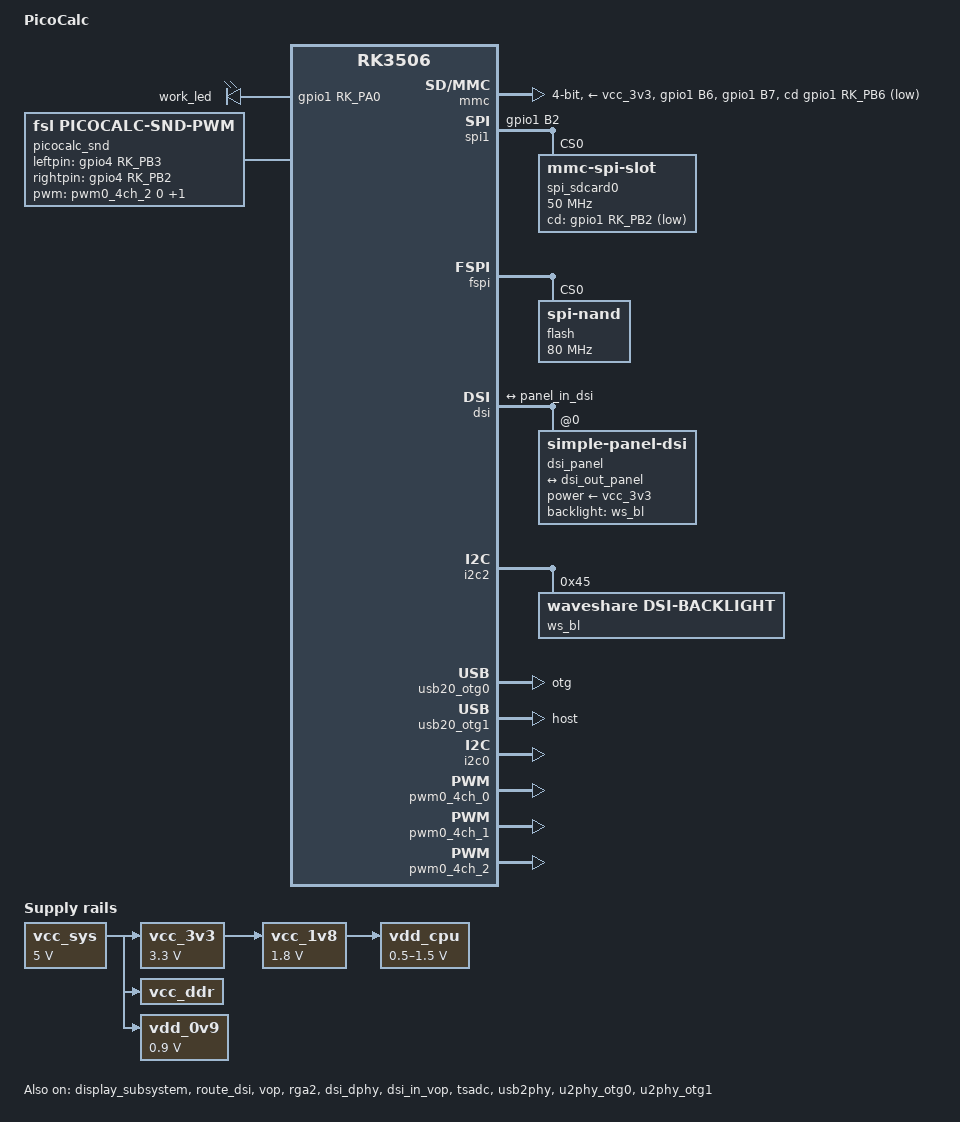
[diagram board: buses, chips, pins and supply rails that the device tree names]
// SPDX-License-Identifier: (GPL-2.0+ OR MIT)
/*
 * Copyright (c) 2024 Rockchip Electronics Co., Ltd.
 * Copyright (c) 2025 nekocharm
 */

/dts-v1/;

#include <dt-bindings/soc/rockchip-amp.h>
#include <dt-bindings/pinctrl/rockchip.h>
#include <dt-bindings/display/drm_mipi_dsi.h>
#include <dt-bindings/display/rockchip_vop.h>
#include <dt-bindings/input/rk-input.h>
#include <dt-bindings/sensor-dev.h>
#include <dt-bindings/suspend/rockchip-rk3506.h>
#include "rk3506.dtsi"

#define CPU_GET_AFFINITY(cluster, cpu)		(cpu)

/ {
	model = "PicoCalc";
	compatible = "rockchip,rk3506";

	chosen {
		bootargs = "earlycon=uart8250,mmio32,0xff0a0000 console=ttyFIQ0 fbcon=font:6x8 fbcon=map:10 storagemedia=sd root=PARTLABEL=rootfs rootfstype=ext4 init=/sbin/pre_init rootwait snd_aloop.index=7 snd_aloop.use_raw_jiffies=1 module_blacklist=rtl8xxxu";
	};

	aliases {
		/* ensure mount mmc first */
		mmc0 = &mmc;
		mmc1 = &spi_sdcard0;
	};

	rockchip_amp: rockchip-amp {
		compatible = "rockchip,amp";
		clocks = <&cru HCLK_M0>, <&cru STCLK_M0>,
			<&cru PCLK_TIMER>, <&cru CLK_TIMER0_CH5>,
			<&cru CLK_TIMER0_CH0>, <&cru CLK_TIMER0_CH4>;

		amp-cpu-aff-maskbits = /bits/ 64 <0x0 0x1 0x1 0x2 0x2 0x4>;
		amp-irqs = /bits/ 64 <
			/* TIMER0 */
			GIC_AMP_IRQ_CFG_ROUTE(126, 0xd0, CPU_GET_AFFINITY(0, 2))
			/* TIMER4 */
			GIC_AMP_IRQ_CFG_ROUTE(130, 0xd0, CPU_GET_AFFINITY(0, 2))>;
		status = "okay";
	};

	mcu_log: mculog {
		compatible = "picocalc,mculog";
		memory-region = <&shmem_reserved>;
		shmem-offset = <0x20>;
		shmem-length = <0x7fe0>;
	};

	fiq_debugger: fiq-debugger {
		compatible = "rockchip,fiq-debugger";
		rockchip,serial-id = <0>;
		rockchip,wake-irq = <0>;
		rockchip,irq-mode-enable = <1>;
		rockchip,baudrate = <1500000>;	/* Only 115200 and 1500000 */
		interrupts = <GIC_SPI 115 IRQ_TYPE_LEVEL_HIGH>;
	};

	leds: leds {
		compatible = "gpio-leds";
		work_led: work-led {
			gpios = <&gpio1 RK_PA0 GPIO_ACTIVE_HIGH>;
			linux,default-trigger = "heartbeat";
		};
	};

	backlight: backlight {
		compatible = "pwm-backlight";
		pwms = <&pwm0_4ch_3 0 25000 0>;
		brightness-levels = <
			  0  20  20  21  21  22  22  23
			 23  24  24  25  25  26  26  27
			 27  28  28  29  29  30  30  31
			 31  32  32  33  33  34  34  35
			 35  36  36  37  37  38  38  39
			 40  41  42  43  44  45  46  47
			 48  49  50  51  52  53  54  55
			 56  57  58  59  60  61  62  63
			 64  65  66  67  68  69  70  71
			 72  73  74  75  76  77  78  79
			 80  81  82  83  84  85  86  87
			 88  89  90  91  92  93  94  95
			 96  97  98  99 100 101 102 103
			104 105 106 107 108 109 110 111
			112 113 114 115 116 117 118 119
			120 121 122 123 124 125 126 127
			128 129 130 131 132 133 134 135
			136 137 138 139 140 141 142 143
			144 145 146 147 148 149 150 151
			152 153 154 155 156 157 158 159
			160 161 162 163 164 165 166 167
			168 169 170 171 172 173 174 175
			176 177 178 179 180 181 182 183
			184 185 186 187 188 189 190 191
			192 193 194 195 196 197 198 199
			200 201 202 203 204 205 206 207
			208 209 210 211 212 213 214 215
			216 217 218 219 220 221 222 223
			224 225 226 227 228 229 230 231
			232 233 234 235 236 237 238 239
			240 241 242 243 244 245 246 247
			248 249 250 251 252 253 254 255
		>;
		default-brightness-level = <200>;
		status = "disabled";
	};

	picocalc_snd: picocalc-snd-pwm {
		compatible = "fsl,picocalc-snd-pwm";
		pwms = <&pwm0_4ch_2 0 25000 0>, <&pwm0_4ch_1 0 25000 0>;
        pwm-names = "pwm-snd-left", "pwm-snd-right";
        pinctrl-names = "default";
        pinctrl-0 = <&snd_pins>;
		leftpin = <&gpio4 RK_PB3 GPIO_ACTIVE_HIGH>;
		rightpin = <&gpio4 RK_PB2 GPIO_ACTIVE_HIGH>;
		status = "okay";
	};

	vcc_sys: vcc-sys {
		compatible = "regulator-fixed";
		regulator-name = "vcc_sys";
		regulator-always-on;
		regulator-boot-on;
		regulator-min-microvolt = <5000000>;
		regulator-max-microvolt = <5000000>;
	};

	vcc_3v3: vcc-3v3 {
		compatible = "regulator-fixed";
		regulator-name = "vcc_3v3";
		regulator-always-on;
		regulator-boot-on;
		regulator-min-microvolt = <3300000>;
		regulator-max-microvolt = <3300000>;
		vin-supply = <&vcc_sys>;
	};

	vcc_1v8: vcc-1v8 {
		compatible = "regulator-fixed";
		regulator-name = "vcc_1v8";
		regulator-always-on;
		regulator-boot-on;
		regulator-min-microvolt = <1800000>;
		regulator-max-microvolt = <1800000>;
		vin-supply = <&vcc_3v3>;
	};

	//1.8V
	vcc_ddr: vcc-ddr {
		compatible = "regulator-fixed";
		regulator-name = "vcc_ddr";
		regulator-always-on;
		regulator-boot-on;
		vin-supply = <&vcc_sys>;
	};

	vdd_0v9: vdd-0v9 {
		compatible = "regulator-fixed";
		regulator-name = "vdd_0v9";
		regulator-always-on;
		regulator-boot-on;
		regulator-min-microvolt = <900000>;
		regulator-max-microvolt = <900000>;
		vin-supply = <&vcc_sys>;
	};

	vdd_cpu: vdd-cpu {
		compatible = "pwm-regulator";
		pwms = <&pwm0_4ch_0 0 5000 1>;
		regulator-name = "vdd_cpu";
		regulator-min-microvolt = <500000>;
		regulator-max-microvolt = <1500000>;
		regulator-init-microvolt = <500000>;
		regulator-always-on;
		regulator-boot-on;
		regulator-settling-time-up-us = <250>;
		pwm-supply = <&vcc_1v8>;
	};
};

/**********cpu**********/
&cpu0 {
	cpu-supply = <&vdd_cpu>;
	status = "okay";
};

/**********media**********/
&mmc {
	/* For SDMMC */
	max-frequency = <52000000>;
	bus-width = <4>;
	no-sdio;
	no-mmc;
	cap-mmc-highspeed;
	cap-sd-highspeed;
	cd-gpios = <&gpio1 RK_PB6 GPIO_ACTIVE_LOW>; //det
	disable-wp;
	pinctrl-names = "default";
	pinctrl-0 = <&sdmmc_clk_pins &sdmmc_cmd_pins &sdmmc_bus4_pins &sdmmc_det &sdmmc_pwren>;
	vqmmc-supply = <&vcc_3v3>;
	vmmc-supply = <&vcc_3v3>;
	status = "okay";
};

&spi1 {
	num-cs = <1>;
	pinctrl-names = "default";
	pinctrl-0 = <&rm_io28_spi1_mosi &rm_io29_spi1_clk &rm_io30_spi1_csn0 &rm_io31_spi1_miso &sdcard_det>;
	status = "okay";
	spi_sdcard0: spi-sdcard@0 {
		compatible = "mmc-spi-slot";
        reg = <0>;
        spi-max-frequency = <50000000>;
        voltage-ranges = <3300 3300>;
        cd-gpios = <&gpio1 RK_PB2 GPIO_ACTIVE_LOW>;
		status = "okay";
	};
};

&fspi {
	status = "okay";

	flash@0 {
		compatible = "spi-nand";
		reg = <0>;
		spi-max-frequency = <80000000>;
		spi-rx-bus-width = <4>;
		spi-tx-bus-width = <1>;
	};
};

/**********reserved memory**********/
&reserved_memory {
	/* mcu address */
	mcu_reserved: mcu@fff80000 {
		reg = <0xfff80000 0xc000>;
		no-map;
	};

	/* 0x20~0x8000 for log*/
	shmem_reserved: shmem@3c00000 {
		reg = <0x03c00000 0x8000>;
		no-map;
		no-cache;
	};
};

/**********display**********/
&cma {
	size = <0x2000000>;
};

&display_subsystem {
	logo-memory-region = <&drm_logo>;
	status = "okay";
};

&route_dsi{
	status = "okay";
};

&vop {
	status = "okay";
};

&rga2 {
	status = "okay";
};

&dsi_dphy {
	status = "okay";
};

&dsi_in_vop {
	status = "okay";
};

&dsi {
	status = "okay";

	dsi_panel: panel@0 {
		status = "okay";
		compatible = "simple-panel-dsi";
		reg = <0>;
		backlight = <&ws_bl>;

		//reset-gpios = <&gpio0 RK_PB5 GPIO_ACTIVE_LOW>;
		prepare-delay-ms = <120>;
		reset-delay-ms = <120>;
		init-delay-ms = <120>;
		disable-delay-ms = <120>;
		unprepare-delay-ms = <120>;

		dsi,flags = <(MIPI_DSI_MODE_VIDEO | MIPI_DSI_MODE_VIDEO_BURST | MIPI_DSI_MODE_LPM | MIPI_DSI_MODE_NO_EOT_PACKET )>;
		dsi,format = <MIPI_DSI_FMT_RGB888>;
		dsi,lanes  = <1>; // for 800x480

		// 5inch
		width-mm = <216>;
		height-mm = <135>;

		// 800x480 panel init sequence
		panel-init-sequence = [
			29 00 06 10 02 03 00 00 00
			29 00 06 64 01 0c 00 00 00
			29 00 06 68 01 0c 00 00 00
			29 00 06 44 01 00 00 00 49
			29 00 06 48 01 00 00 00 00
			29 00 06 14 01 15 00 00 00
			29 00 06 50 04 60 00 00 00
			29 00 06 20 04 52 01 10 00
			29 00 06 24 04 14 00 1a 00
			29 00 06 28 04 20 03 69 00
			29 00 06 2c 04 02 00 15 00
			29 00 06 30 04 e0 01 07 00
			29 00 06 34 04 01 00 00 00
			29 00 06 64 04 0f 04 00 00
			29 00 06 01 01 01 00 00 00
			29 00 06 02 02 01 00 00 00
		];

		disp_timings0: display-timings {
			native-mode = <&ws_800_480>;

			ws_800_480: ws-800-480 {
				clock-frequency = <30000000>;

				hactive = <800>;
				vactive = <480>;

				vsync-len = <22>;
				vback-porch = <2>;
				vfront-porch = <7>;

				hsync-len = <45>;
				hback-porch = <2>;
				hfront-porch = <131>;

				vsync-active = <0>;
				hsync-active = <0>;
				de-active = <0>;
				pixelclk-active =<0>;
			};
		};

		ports {
			#address-cells = <1>;
			#size-cells = <0>;

			port@0 {
				reg = <0>;
				panel_in_dsi: endpoint {
					remote-endpoint = <&dsi_out_panel>;
				};
			};
		};
	};

	ports {
		#address-cells = <1>;
		#size-cells = <0>;

		port@1 {
			reg = <1>;
			dsi_out_panel: endpoint {
				remote-endpoint = <&panel_in_dsi>;
			};
		};
	};

};

&dsi_panel {
	power-supply = <&vcc_3v3>;
};

&i2c2{
	status = "okay";
	pinctrl-names = "default";
	pinctrl-0 = <&rm_io1_i2c2_scl &rm_io0_i2c2_sda>;

	ws_bl: ws-bl@45 {
		status = "okay";
		compatible = "waveshare,dsi-backlight";
		reg = <0x45>;
		default-brightness-level = <200>;
		max-brightness-level = <255>;
		min-brightness-level = <5>;
	};
};

/**********adc**********/
&tsadc {
	status = "okay";
};

/**********usb**********/
&usb20_otg0 {
	dr_mode = "otg";
	usb-role-switch;
	role-switch-default-mode = "peripheral";
	adp-disable;
	srp-disable;
	status = "okay";
};

&usb20_otg1 {
	dr_mode = "host";
	status = "okay";
};

&usb2phy {
	status = "okay";
};

&u2phy_otg0 {
	status = "okay";
};

&u2phy_otg1 {
	status = "okay";
};


/**********i2c**********/
&i2c0{
	status = "okay";
	pinctrl-names = "default";
	pinctrl-0 = <&rm_io10_i2c0_scl &rm_io11_i2c0_sda>;
/*
	keyboard: keyboard@1f {
		status = "okay";
		compatible = "picocalc,picocalc-keyboard";
		reg = <0x1f>;
	};

    rtc: rtc@68 {
        compatible = "dallas,ds3231";
        reg = <0x68>;
        status = "okay";
    };
*/
};

/**********spi**********/
&spi0 {
	num-cs = <1>;
	pinctrl-names = "default";
	pinctrl-0 = <&rm_io4_spi0_csn0 &rm_io5_spi0_miso &rm_io6_spi0_mosi &rm_io7_spi0_clk>;
	status = "disabled";
	spi_lcd0: spi-lcd@0 {
		compatible = "ilitek,ili9488";
		reg = <0>;
		spi-max-frequency = <80000000>;
		pinctrl-names = "default";
    	pinctrl-0 = <&lcd_pins>;
        dc-gpios = <&gpio0 RK_PA3 GPIO_ACTIVE_HIGH>;
        reset-gpios = <&gpio0 RK_PA2 GPIO_ACTIVE_HIGH>;
        rotate = <0>;
        width = <320>;
        height = <320>;
        buswidth = <8>;
		status = "disabled";
	};
};

/**********dma**********/
&dmac0 {
	arm,pl330-mcbufsz-bytes = <1024>;
};

/**********pwm**********/
&pwm0_4ch_0 {
	pinctrl-names = "active";
	pinctrl-0 = <&rm_io21_pwm0_ch0>;
	assigned-clocks = <&cru CLK_PWM0>;
	assigned-clock-rates = <100000000>;
	status = "okay";
};

&pwm0_4ch_1 {
        pinctrl-names = "active";
        pinctrl-0 = <&rm_io12_pwm0_ch1>;
        status = "okay";
        assigned-clocks = <&cru CLK_PWM0>;
        assigned-clock-rates = <100000000>;
};

&pwm0_4ch_2 {
		pinctrl-names = "active";
		pinctrl-0 = <&rm_io13_pwm0_ch2>;
		status = "okay";
		assigned-clocks = <&cru CLK_PWM0>;
		assigned-clock-rates = <100000000>;
};

&pwm0_4ch_3 {
		pinctrl-names = "active";
		pinctrl-0 = <&rm_io15_pwm0_ch3>;
		status = "disabled";
		assigned-clocks = <&cru CLK_PWM0>;
		assigned-clock-rates = <100000000>;
};

/**********display**********/
&rga2 {
	status = "okay";
};

&vop {
	status = "okay";
};

/**********pinctrl**********/
&pinctrl {
	sdmmc {
		/omit-if-no-ref/
		sdmmc_pwren: sdmmc-pwren {
			rockchip,pins = <1 RK_PB7 RK_FUNC_GPIO &pcfg_pull_down>;
		};

		sdmmc_det: sdmmc-det {
			rockchip,pins = <1 RK_PB6 RK_FUNC_GPIO &pcfg_pull_down>;
		};
	};

	sdcard {
		sdcard_det: sdcard-det {
			rockchip,pins = <1 RK_PB2 RK_FUNC_GPIO &pcfg_pull_none>;
		};
	};

	lcd {
		lcd_pins: lcd-pins {
			rockchip,pins = 
				<0 RK_PA3 RK_FUNC_GPIO &pcfg_pull_none>,
				<0 RK_PA2 RK_FUNC_GPIO &pcfg_pull_none>;
		};
	};

	picocalc_snd {
		snd_pins: snd-pins {
			rockchip,pins = 
				<4 RK_PB2 RK_FUNC_GPIO &pcfg_pull_none>,
				<4 RK_PB3 RK_FUNC_GPIO &pcfg_pull_none>;
		};
	};
};
